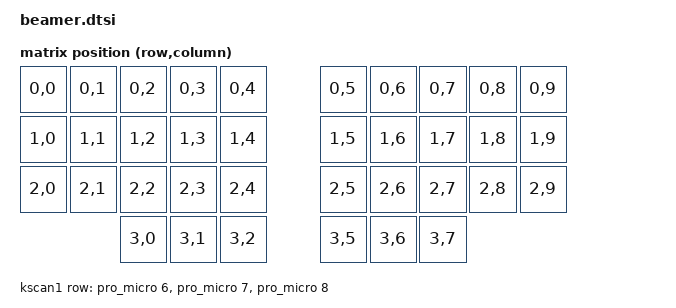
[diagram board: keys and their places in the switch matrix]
/*
 * Copyright (c) 2020 The ZMK Contributors
 *
 * SPDX-License-Identifier: MIT
 */

#include <dt-bindings/zmk/matrix_transform.h>

/ {

  chosen {
    // zephyr,display = &nice_view;
    zmk,matrix_transform = &default_transform;
    zmk,kscan = &kscan0;
  };

  default_transform: matrix_transform {
    compatible = "zmk,matrix-transform";
    columns = <10>;
    rows = <4>;

    // | SW1  | SW2  | SW3  | SW4  | SW5  |     | SW5  | SW4  | SW3  | SW2  | SW1  |
    // | SW6  | SW7  | SW8  | SW9  | SW10 |     | SW10 | SW9  | SW8  | SW7  | SW6  |
    // | SW11 | SW12 | SW13 | SW14 | SW15 |     | SW15 | SW14 | SW13 | SW12 | SW11 |
    //               | SW16 | SW17 | SW18 |     | SW18 | SW17 | SW16 |
    map = <
      RC(0,0) RC(0,1) RC(0,2) RC(0,3) RC(0,4)   RC(0,5) RC(0,6) RC(0,7) RC(0,8) RC(0,9)
      RC(1,0) RC(1,1) RC(1,2) RC(1,3) RC(1,4)   RC(1,5) RC(1,6) RC(1,7) RC(1,8) RC(1,9)
      RC(2,0) RC(2,1) RC(2,2) RC(2,3) RC(2,4)   RC(2,5) RC(2,6) RC(2,7) RC(2,8) RC(2,9)
                      RC(3,0) RC(3,1) RC(3,2)   RC(3,5) RC(3,6) RC(3,7)
    >;
  };

  kscan0: kscan_composite {
    compatible = "zmk,kscan-composite";
    label = "KSCAN";
    columns = <10>;
    rows = <4>;

    matrix {
      kscan = <&kscan1>;
    };

    direct {
      kscan = <&kscan2>;
      row-offset = <3>;
    };
  };

  kscan1: kscan_matrix {
    compatible = "zmk,kscan-gpio-matrix";
    label = "FINGERS";
    diode-direction = "col2row";
    row-gpios
      = <&pro_micro 6 (GPIO_ACTIVE_HIGH | GPIO_PULL_DOWN)>
      , <&pro_micro 7 (GPIO_ACTIVE_HIGH | GPIO_PULL_DOWN)>
      , <&pro_micro 8 (GPIO_ACTIVE_HIGH | GPIO_PULL_DOWN)>
      ;
  };

  kscan2: kscan_direct {
    compatible = "zmk,kscan-gpio-direct";
    label = "THUMBS";
  };
};

&pinctrl {
    spi0_default: spi0_default {
        group1 {
            psels = <NRF_PSEL(SPIM_SCK, 0, 20)>,
                    <NRF_PSEL(SPIM_MOSI, 0, 17)>,
                    <NRF_PSEL(SPIM_MISO, 0, 25)>;
        };
    };

    spi0_sleep: spi0_sleep {
        group1 {
            psels = <NRF_PSEL(SPIM_SCK, 0, 20)>,
                    <NRF_PSEL(SPIM_MOSI, 0, 17)>,
                    <NRF_PSEL(SPIM_MISO, 0, 25)>;
            low-power-enable;
        };
    };
};

nice_view_spi: &spi0 {
  compatible = "nordic,nrf-spim";
  pinctrl-0 = <&spi0_default>;
  pinctrl-1 = <&spi0_sleep>;
  pinctrl-names = "default", "sleep";
  cs-gpios = <&pro_micro 1 GPIO_ACTIVE_HIGH>;
};

&pro_micro_i2c {
  status = "disabled";
};
